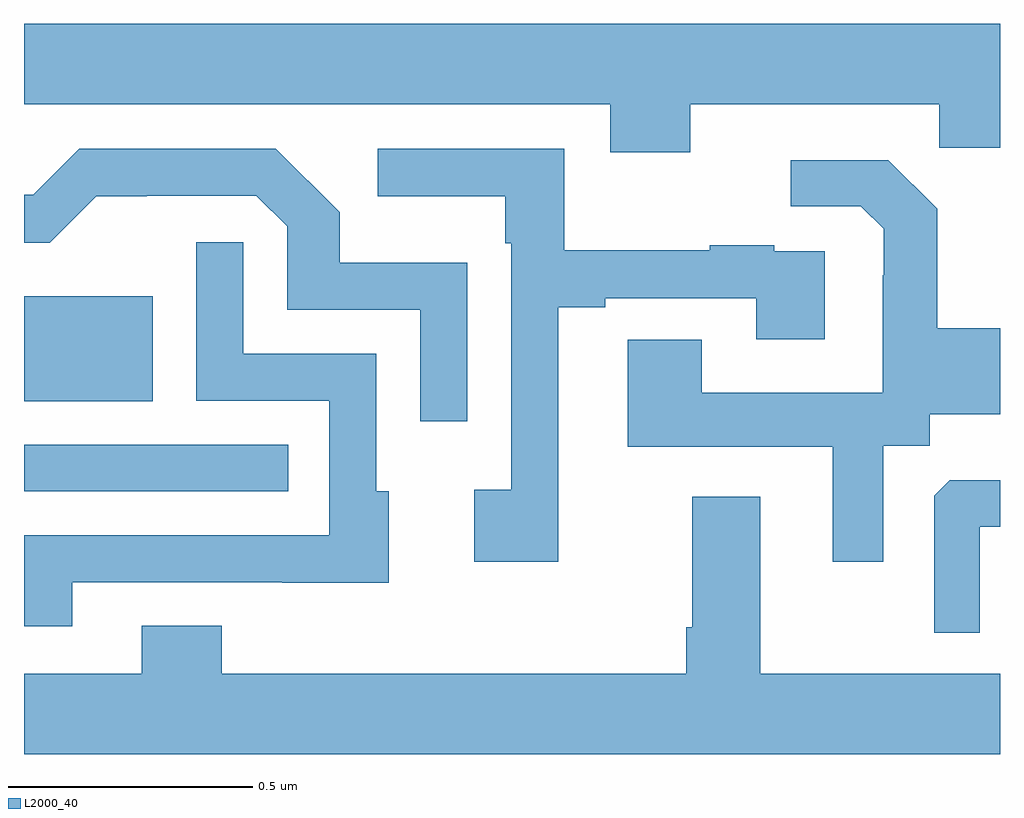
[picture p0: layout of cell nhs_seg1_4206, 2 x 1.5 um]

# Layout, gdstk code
import gdstk
lib = gdstk.Library(unit=1e-6, precision=1e-09)
def R(c, l, rs):  # rectangles x0, y0, x1, y1
    for r in rs: c.add(gdstk.rectangle(r[:2], r[2:], *l))
def P(c, l, *ps):  # polygons
    for p in ps: c.add(gdstk.Polygon(p, *l))
L2000_40 = (2000, 40)

nhs_seg1_4206 = lib.new_cell('nhs_seg1_4206')
R(nhs_seg1_4206, L2000_40, [(163,558.93,163.541,559.026), (163,559.115,163.264,559.33)])
P(nhs_seg1_4206, L2000_40, [(164.365,559.724),(164.875,559.724),(164.875,559.634),(165,559.634),(165,559.888),(163,559.888),(163,559.724),(164.201,559.724),(164.201,559.625),(164.365,559.625)],
  [(164.095,559.308),(164.191,559.308),(164.191,559.326),(164.501,559.326),(164.501,559.242),(164.641,559.242),(164.641,559.422),(164.537,559.422),(164.537,559.435),(164.405,559.435),(164.405,559.424),(164.107,559.424),(164.107,559.632),(163.725,559.632),(163.725,559.535),(163.986,559.535),(163.986,559.439),(163.998,559.439),(163.998,558.934),(163.923,558.934),(163.923,558.786),(164.095,558.786)],
  [(163.908,559.399),(163.647,559.399),(163.647,559.502),(163.516,559.632),(163.113,559.632),(163.019,559.538),(163,559.538),(163,559.44),(163.053,559.44),(163.148,559.535),(163.252,559.535),(163.252,559.536),(163.476,559.536),(163.539,559.473),(163.539,559.302),(163.812,559.302),(163.812,559.074),(163.908,559.074)],
  [(164.761,559.024),(164.856,559.024),(164.856,559.088),(165,559.088),(165,559.264),(164.871,559.264),(164.871,559.509),(164.771,559.609),(164.571,559.609),(164.571,559.515),(164.715,559.515),(164.762,559.468),(164.762,559.373),(164.76,559.373),(164.76,559.132),(164.389,559.132),(164.389,559.241),(164.237,559.241),(164.237,559.022),(164.657,559.022),(164.657,558.786),(164.761,558.786)],
  [(163.099,558.744),(163.529,558.744),(163.529,558.743),(163.747,558.743),(163.747,558.93),(163.722,558.93),(163.722,559.212),(163.449,559.212),(163.449,559.441),(163.353,559.441),(163.353,559.116),(163.626,559.116),(163.626,558.84),(163,558.84),(163,558.654),(163.099,558.654)],
  [(164.958,558.858),(165,558.858),(165,558.953),(164.897,558.953),(164.865,558.921),(164.865,558.641),(164.958,558.641)],
  [(165,558.556),(164.509,558.556),(164.509,558.919),(164.369,558.919),(164.369,558.652),(164.357,558.652),(164.357,558.556),(163.405,558.556),(163.405,558.655),(163.241,558.655),(163.241,558.556),(163,558.556),(163,558.392),(165,558.392)])

lib.write_gds('nhs_seg1_4206.gds')
